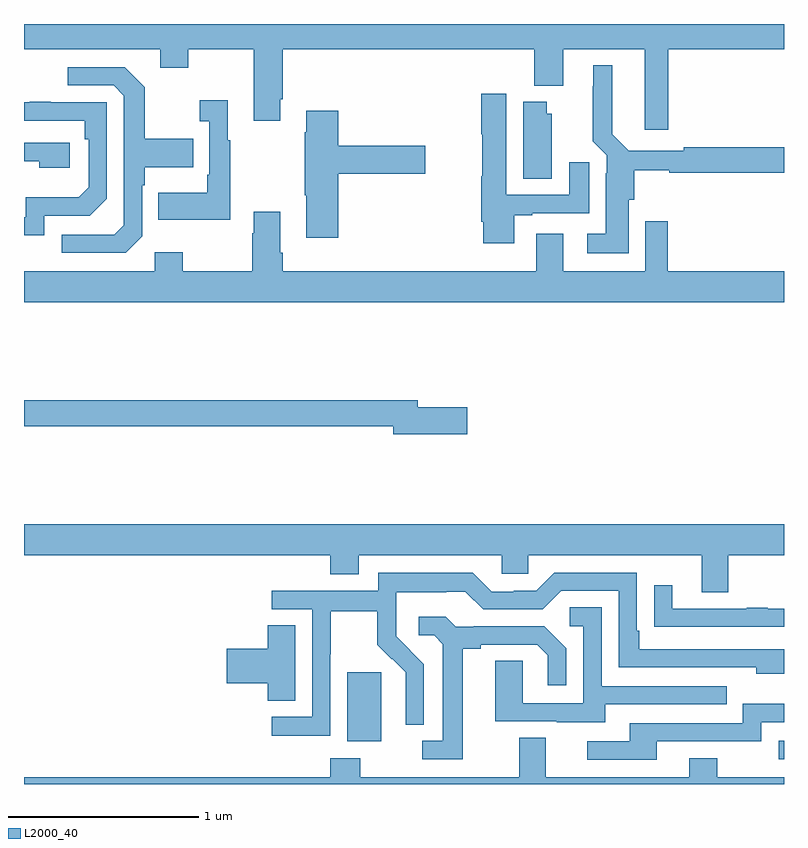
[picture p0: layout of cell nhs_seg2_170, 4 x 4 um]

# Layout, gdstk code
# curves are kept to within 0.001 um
import gdstk
lib = gdstk.Library(unit=1e-6, precision=1e-09)
def R(c, l, rs):  # rectangles x0, y0, x1, y1
    for r in rs: c.add(gdstk.rectangle(r[:2], r[2:], *l))
def P(c, l, *ps):  # polygons
    for p in ps: c.add(gdstk.Polygon(p, *l))
L2000_40 = (2000, 40)

nhs_seg2_170 = lib.new_cell('nhs_seg2_170')
R(nhs_seg2_170, L2000_40, [(122.973,611.931,123,612.027), (120.701,612.026,120.88,612.387)])
P(nhs_seg2_170, L2000_40, [(122.39,615.668),(123,615.668),(123,615.8),(119,615.8),(119,615.668),(119.717,615.668),(119.717,615.569),(119.865,615.569),(119.865,615.668),(120.209,615.668),(120.209,615.291),(120.349,615.291),(120.349,615.403),(120.362,615.403),(120.362,615.668),(121.685,615.668),(121.685,615.476),(121.837,615.476),(121.837,615.668),(122.267,615.668),(122.267,615.243),(122.39,615.243)],
  [(122.182,614.874),(122.213,614.874),(122.213,615.031),(122.396,615.031),(122.396,615.016),(123,615.016),(123,615.152),(122.473,615.152),(122.473,615.132),(122.182,615.132),(122.095,615.22),(122.095,615.583),(121.997,615.583),(121.997,615.473),(121.993,615.473),(121.993,615.182),(122.067,615.108),(122.067,615.014),(122.063,615.014),(122.063,614.695),(121.965,614.695),(121.965,614.594),(122.182,614.594)],
  [(119.622,614.682),(119.622,614.951),(119.635,614.951),(119.635,615.047),(119.891,615.047),(119.891,615.195),(119.635,615.195),(119.635,615.467),(119.529,615.573),(119.229,615.573),(119.229,615.477),(119.472,615.477),(119.526,615.423),(119.526,614.742),(119.475,614.691),(119.199,614.691),(119.199,614.595),(119.535,614.595)],
  [(121.579,614.793),(121.675,614.793),(121.675,614.805),(121.975,614.805),(121.975,615.073),(121.871,615.073),(121.871,614.901),(121.537,614.901),(121.537,615.433),(121.406,615.433),(121.406,615.22),(121.411,615.22),(121.411,614.998),(121.406,614.998),(121.406,614.758),(121.418,614.758),(121.418,614.646),(121.579,614.646)],
  [(120.085,615.187),(120.073,615.187),(120.073,615.4),(119.925,615.4),(119.925,615.287),(119.976,615.287),(119.976,615.007),(119.964,615.007),(119.964,614.911),(119.707,614.911),(119.707,614.771),(120.085,614.771)],
  [(119.106,614.79),(119.346,614.79),(119.436,614.88),(119.436,615.387),(119.141,615.387),(119.141,615.392),(119.029,615.392),(119.029,615.387),(119,615.387),(119,615.291),(119.32,615.291),(119.32,615.194),(119.34,615.194),(119.34,614.94),(119.287,614.887),(119.01,614.887),(119.01,614.784),(119,614.784),(119,614.688),(119.106,614.688)],
  [(121.777,615.327),(121.75,615.327),(121.75,615.391),(121.628,615.391),(121.628,614.986),(121.777,614.986)],
  [(120.653,615.011),(121.111,615.011),(121.111,615.158),(120.653,615.158),(120.653,615.343),(120.485,615.343),(120.485,615.23),(120.478,615.23),(120.478,614.899),(120.485,614.899),(120.485,614.676),(120.653,614.676)],
  [(119.242,615.174),(119,615.174),(119,615.078),(119.081,615.078),(119.081,615.044),(119.242,615.044)],
  [(123,614.5),(122.387,614.5),(122.387,614.761),(122.271,614.761),(122.271,614.5),(121.837,614.5),(121.837,614.695),(121.697,614.695),(121.697,614.5),(120.362,614.5),(120.362,614.596),(120.349,614.596),(120.349,614.812),(120.209,614.812),(120.209,614.699),(120.202,614.699),(120.202,614.5),(119.835,614.5),(119.835,614.599),(119.688,614.599),(119.688,614.5),(119,614.5),(119,614.336),(123,614.336)],
  [(121.333,613.784),(121.072,613.784),(121.072,613.82),(119,613.82),(119,613.684),(120.944,613.684),(120.944,613.642),(121.333,613.642)],
  [(122.707,613.004),(123,613.004),(123,613.168),(119,613.168),(119,613.004),(120.611,613.004),(120.611,612.905),(120.763,612.905),(120.763,613.004),(121.515,613.004),(121.515,612.906),(121.653,612.906),(121.653,613.004),(122.567,613.004),(122.567,612.81),(122.707,612.81)],
  [(120.612,612.484),(120.615,612.484),(120.615,612.708),(120.859,612.708),(120.859,612.533),(120.936,612.456),(120.939,612.459),(121.01,612.389),(121.01,612.266),(121.008,612.266),(121.008,612.112),(121.104,612.112),(121.104,612.43),(120.958,612.578),(120.958,612.675),(120.96,612.675),(120.96,612.809),(121.223,612.809),(121.223,612.813),(121.323,612.813),(121.416,612.72),(121.731,612.72),(121.827,612.816),(122.13,612.816),(122.13,612.414),(122.855,612.414),(122.855,612.38),(123,612.38),(123,612.51),(122.239,612.51),(122.239,612.607),(122.226,612.607),(122.226,612.912),(121.791,612.912),(121.695,612.816),(121.577,612.816),(121.577,612.813),(121.461,612.813),(121.361,612.913),(120.864,612.913),(120.864,612.816),(120.303,612.816),(120.303,612.72),(120.516,612.72),(120.516,612.153),(120.303,612.153),(120.303,612.055),(120.612,612.055)],
  [(123,612.723),(122.915,612.723),(122.915,612.728),(122.803,612.728),(122.803,612.723),(122.413,612.723),(122.413,612.847),(122.317,612.847),(122.317,612.628),(122.419,612.628),(122.419,612.627),(123,612.627)],
  [(122.059,612.219),(122.699,612.219),(122.699,612.315),(122.04,612.315),(122.04,612.731),(121.872,612.731),(121.872,612.63),(121.944,612.63),(121.944,612.225),(121.626,612.225),(121.626,612.449),(121.481,612.449),(121.481,612.129),(121.805,612.129),(121.805,612.125),(122.059,612.125)],
  [(121.309,612.512),(121.405,612.512),(121.405,612.534),(121.7,612.534),(121.757,612.477),(121.757,612.321),(121.854,612.321),(121.854,612.514),(121.738,612.63),(121.366,612.63),(121.366,612.627),(121.272,612.627),(121.22,612.679),(121.077,612.679),(121.077,612.582),(121.158,612.582),(121.205,612.535),(121.205,612.027),(121.095,612.027),(121.095,611.931),(121.309,611.931)],
  [(120.427,612.635),(120.284,612.635),(120.284,612.512),(120.066,612.512),(120.066,612.329),(120.284,612.329),(120.284,612.238),(120.427,612.238)],
  [(122.329,612.024),(122.88,612.024),(122.88,612.126),(123,612.126),(123,612.223),(122.784,612.223),(122.784,612.12),(122.189,612.12),(122.189,612.024),(121.965,612.024),(121.965,611.928),(122.329,611.928)],
  [(123,611.836),(122.649,611.836),(122.649,611.935),(122.501,611.935),(122.501,611.836),(121.747,611.836),(121.747,612.044),(121.607,612.044),(121.607,611.836),(120.771,611.836),(120.771,611.935),(120.611,611.935),(120.611,611.836),(119,611.836),(119,611.8),(123,611.8)])

lib.write_gds('nhs_seg2_170.gds')
